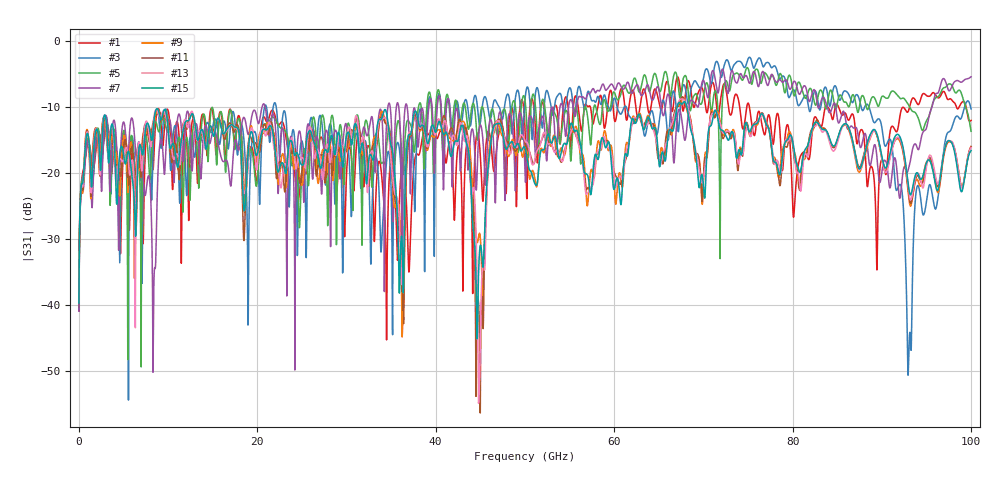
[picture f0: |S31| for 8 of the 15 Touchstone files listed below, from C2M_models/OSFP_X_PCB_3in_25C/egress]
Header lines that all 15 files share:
# GHz S RI R 45
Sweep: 25 MHz to 100 GHz
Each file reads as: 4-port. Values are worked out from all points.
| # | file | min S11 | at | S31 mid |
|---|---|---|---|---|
| 1 | C2M_X_OSFP224_3in_host_PCB_25C_FEXT_TP0_Tx1_to_TP1a_Tx7.s4p | -39.8 dB | 76.6 GHz | -13.8 dB at 50.02 GHz |
| 2 | C2M_X_OSFP224_3in_host_PCB_25C_FEXT_TP0_Tx2_to_TP1a_Tx7.s4p | -54.2 dB | 23.4 GHz | -13.0 dB at 50.02 GHz |
| 3 | C2M_X_OSFP224_3in_host_PCB_25C_FEXT_TP0_Tx3_to_TP1a_Tx7.s4p | -47.4 dB | 28.7 GHz | -8.7 dB at 50.02 GHz |
| 4 | C2M_X_OSFP224_3in_host_PCB_25C_FEXT_TP0_Tx4_to_TP1a_Tx7.s4p | -42.2 dB | 6.7 GHz | -8.6 dB at 50.02 GHz |
| 5 | C2M_X_OSFP224_3in_host_PCB_25C_FEXT_TP0_Tx5_to_TP1a_Tx7.s4p | -48.8 dB | 33.75 GHz | -9.1 dB at 50.02 GHz |
| 6 | C2M_X_OSFP224_3in_host_PCB_25C_FEXT_TP0_Tx6_to_TP1a_Tx7.s4p | -44.2 dB | 24.62 GHz | -11.0 dB at 50.02 GHz |
| 7 | C2M_X_OSFP224_3in_host_PCB_25C_FEXT_TP0_Tx8_to_TP1a_Tx7.s4p | -45.9 dB | 98.62 GHz | -20.4 dB at 50.02 GHz |
| 8 | C2M_X_OSFP224_3in_host_PCB_25C_NEXT_TP1a_Rx1_to_TP1a_Tx7.s4p | -47.3 dB | 34.17 GHz | -15.5 dB at 50.02 GHz |
| 9 | C2M_X_OSFP224_3in_host_PCB_25C_NEXT_TP1a_Rx2_to_TP1a_Tx7.s4p | -57.4 dB | 4.625 GHz | -15.9 dB at 50.02 GHz |
| 10 | C2M_X_OSFP224_3in_host_PCB_25C_NEXT_TP1a_Rx3_to_TP1a_Tx7.s4p | -45.1 dB | 33.55 GHz | -13.5 dB at 50.02 GHz |
| 11 | C2M_X_OSFP224_3in_host_PCB_25C_NEXT_TP1a_Rx4_to_TP1a_Tx7.s4p | -45.0 dB | 18.4 GHz | -15.5 dB at 50.02 GHz |
| 12 | C2M_X_OSFP224_3in_host_PCB_25C_NEXT_TP1a_Rx5_to_TP1a_Tx7.s4p | -52.5 dB | 45.23 GHz | -13.2 dB at 50.02 GHz |
| 13 | C2M_X_OSFP224_3in_host_PCB_25C_NEXT_TP1a_Rx6_to_TP1a_Tx7.s4p | -37.0 dB | 27.23 GHz | -15.1 dB at 50.02 GHz |
| 14 | C2M_X_OSFP224_3in_host_PCB_25C_NEXT_TP1a_Rx7_to_TP1a_Tx7.s4p | -42.2 dB | 25.85 GHz | -14.7 dB at 50.02 GHz |
| 15 | C2M_X_OSFP224_3in_host_PCB_25C_NEXT_TP1a_Rx8_to_TP1a_Tx7.s4p | -66.7 dB | 18.55 GHz | -16.2 dB at 50.02 GHz |
